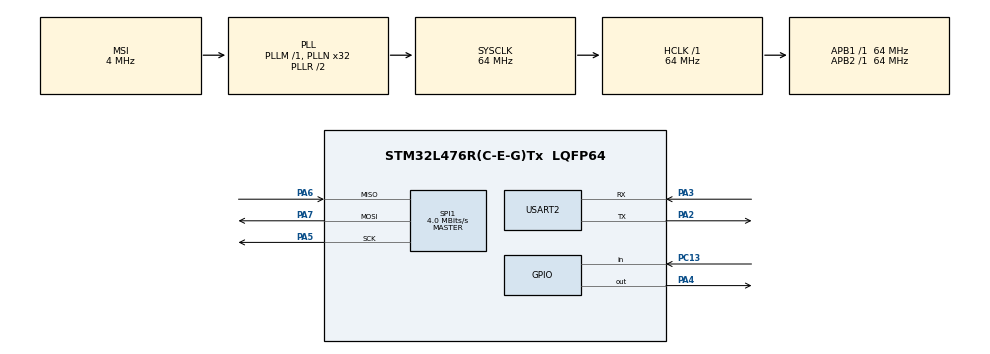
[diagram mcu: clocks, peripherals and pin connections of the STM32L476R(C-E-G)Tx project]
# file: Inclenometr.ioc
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Mcu.Family=STM32L4
Mcu.Name=STM32L476R(C-E-G)Tx
Mcu.Package=LQFP64
NVIC.PriorityGroup=NVIC_PRIORITYGROUP_4
NVIC.TIM7_IRQn=true\:0\:0\:false\:false\:true\:true\:true
PA2.Mode=Asynchronous
PA2.Signal=USART2_TX
PA3.Mode=Asynchronous
PA3.Signal=USART2_RX
PA4.GPIO_Speed=GPIO_SPEED_FREQ_LOW
PA4.PinState=GPIO_PIN_SET
PA4.Signal=GPIO_Output
PA5.Mode=Full_Duplex_Master
PA5.Signal=SPI1_SCK
PA6.Mode=Full_Duplex_Master
PA6.Signal=SPI1_MISO
PA7.Mode=Full_Duplex_Master
PA7.Signal=SPI1_MOSI
PC13.GPIO_Mode=GPIO_MODE_INPUT
PC13.GPIO_PuPd=GPIO_PULLDOWN
PC13.Signal=GPIO_Input
ProjectManager.HeapSize=0x200
ProjectManager.StackSize=0x400
ProjectManager.TargetToolchain=MDK-ARM V5.32
RCC.AHBFreq_Value=64000000
RCC.APB1Freq_Value=64000000
RCC.APB1TimFreq_Value=64000000
RCC.APB2Freq_Value=64000000
RCC.APB2TimFreq_Value=64000000
RCC.CortexFreq_Value=64000000
RCC.HCLKFreq_Value=64000000
RCC.HSE_VALUE=8000000
RCC.HSI_VALUE=16000000
RCC.LSE_VALUE=32768
RCC.MSI_VALUE=4000000
RCC.PLLN=32
RCC.SYSCLKFreq_VALUE=64000000
RCC.SYSCLKSource=RCC_SYSCLKSOURCE_PLLCLK
RCC.VCOOutputFreq_Value=128000000
SPI1.BaudRatePrescaler=SPI_BAUDRATEPRESCALER_16
SPI1.CLKPhase=SPI_PHASE_1EDGE
SPI1.CLKPolarity=SPI_POLARITY_LOW
SPI1.CalculateBaudRate=4.0 MBits/s
SPI1.DataSize=SPI_DATASIZE_8BIT
SPI1.Direction=SPI_DIRECTION_2LINES
SPI1.Mode=SPI_MODE_MASTER
SPI1.NSSPMode=SPI_NSS_PULSE_DISABLE
SPI1.VirtualType=VM_MASTER
TIM7.Period=10
TIM7.Prescaler=63999
USART2.VirtualMode-Asynchronous=VM_ASYNC
VP_TIM7_VS_ClockSourceINT.Mode=Enable_Timer
board=custom

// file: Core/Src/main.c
/* USER CODE BEGIN Header */
/**
  ******************************************************************************
  * @file           : main.c
  * @brief          : Main program body
  ******************************************************************************
  * @attention
  *
  * <h2><center>&copy; Copyright (c) 2023 STMicroelectronics.
  * All rights reserved.</center></h2>
  *
  * This software component is licensed by ST under BSD 3-Clause license,
  * the "License"; You may not use this file except in compliance with the
  * License. You may obtain a copy of the License at:
  *                        opensource.org/licenses/BSD-3-Clause
  *
  ******************************************************************************
  */
/* USER CODE END Header */
#include "main.h"

/* USER CODE BEGIN Includes */
#include "stdint.h"
#include "arm_math.h"
#include "incl.h"
#include "InclMathFix.h"
#include <stdio.h>
/* USER CODE END Includes */

/* USER CODE BEGIN PD */
#define gra_to_rad(a) (a) * 3.141592653f /180.0f
/* USER CODE END PD */

SPI_HandleTypeDef hspi1;

TIM_HandleTypeDef htim7;

UART_HandleTypeDef huart2;

/* USER CODE BEGIN PV */

static float32_t angls_grad[6];
static float32_t angls_rad[3];
static sInclData incl;
uint32_t one_sec_flag;
//static uint32_t uart_count;

//...........................................
//ПЕРЕМЕННЫЕ ДЛЯ КНОПК
static volatile uint32_t pres_pc13; //Нажатие
static volatile uint32_t prev_pc13 = GPIO_IDR_ID13; //Предыдущее значение кнопки
static volatile uint32_t cnt_pc13 = 0; //счетчик
static volatile uint32_t timer_intr_counter = 0;
static volatile uint8_t key_press_counter = 0;
static volatile uint8_t key_press = 0;
static volatile uint8_t* ptr_key_press = &key_press;

/* USER CODE END PV */

void SystemClock_Config(void);
static void MX_GPIO_Init(void);
static void MX_SPI1_Init(void);
static void MX_TIM7_Init(void);
static void MX_USART2_UART_Init(void);
/* USER CODE BEGIN PFP */
static void debounce(volatile uint32_t *  pres_px, volatile uint32_t *  cnt_px, volatile uint32_t *  prev_px, uint32_t GPIOx_IDR);

void 	HAL_TIM_PeriodElapsedCallback (TIM_HandleTypeDef *htim){
  if(htim->Instance == TIM7){
    TIM7 -> SR &= ~TIM_SR_UIF;
    timer_intr_counter++;
    debounce(&pres_pc13, &cnt_pc13, &prev_pc13, GPIOC->IDR);
    if (pres_pc13)
    {
      pres_pc13 = 0;
      key_press_counter++;
      timer_intr_counter = 0;
    }
    else if(timer_intr_counter>=50 && key_press_counter != 0)
    {
      *ptr_key_press = key_press_counter;
      key_press_counter = 0;
      timer_intr_counter = 0;
    }

  }
}
/* USER CODE END PFP */

int main(void)
{

  /* MCU Configuration--------------------------------------------------------*/

  /* Reset of all peripherals, Initializes the Flash interface and the Systick. */
  HAL_Init();

  /* Configure the system clock */
  SystemClock_Config();

  /* Initialize all configured peripherals */
  MX_GPIO_Init();
  MX_SPI1_Init();
  MX_TIM7_Init();
  MX_USART2_UART_Init();
  /* USER CODE BEGIN 2 */

  HAL_GPIO_WritePin(GPIOA, GPIO_PIN_4, GPIO_PIN_SET);
  HAL_TIM_Base_Start_IT(&htim7);

  /* USER CODE END 2 */

  /* Infinite loop */
  /* USER CODE BEGIN WHILE */

  Incl_init();
  while (1)
  {
    /* USER CODE END WHILE */

    /* USER CODE BEGIN 3 */
    //получаем значения с датчика
      Incl_Data_ANGL(angls_grad);
      for(uint32_t i = 0; i < 3; i++)
          angls_rad[i] = gra_to_rad(angls_grad[i]);
    // события по кнопке
    if (key_press == 1){
      key_press = 0;
      //инициализация матрицы поворота по x y
      inclDataInit1(angls_rad,&incl);
    }
    else if (key_press == 2){
      key_press = 0;
      inclDataInit2(angls_rad,&incl);
    }
    fixAngles(angls_rad, &incl);

//    if (key_press == 3 && uart_count && (one_sec_flag >=32)){
//      uart_count = (uart_count+1)%101;
//      one_sec_flag =0;
//      char range_str[100];
//      angls[0] = incl.data_out[0];
//      sprintf(range_str,"%0.20f\t",angls[0]);
//      HAL_UART_Transmit(&huart2,(uint8_t*)range_str,strlen(range_str),100);

//      angls[1] = incl.data_out[1];
//      sprintf(range_str,"%0.20f\t",angls[1]);
//      HAL_UART_Transmit(&huart2,(uint8_t*)range_str,strlen(range_str),100);

//      angls[2] = incl.data_out[2];
//      sprintf(range_str,"%0.20f\n",angls[2]);
//      HAL_UART_Transmit(&huart2,(uint8_t*)range_str,strlen(range_str),100);
//    }
//    else if (uart_count == 0){
//      key_press = 0;
//      uart_count = 1;
//      one_sec_flag = 0;
//    }
      char range_str[100];
      sprintf(range_str,"%0.20f\t",incl.dataOut[0]);
      HAL_UART_Transmit(&huart2,(uint8_t*)range_str,strlen(range_str),100);
}
  /* USER CODE END 3 */
}

void SystemClock_Config(void)
{
  RCC_OscInitTypeDef RCC_OscInitStruct = {0};
  RCC_ClkInitTypeDef RCC_ClkInitStruct = {0};

  /** Configure the main internal regulator output voltage
  */
  if (HAL_PWREx_ControlVoltageScaling(PWR_REGULATOR_VOLTAGE_SCALE1) != HAL_OK)
  {
    Error_Handler();
  }
  /** Initializes the RCC Oscillators according to the specified parameters
  * in the RCC_OscInitTypeDef structure.
  */
  RCC_OscInitStruct.OscillatorType = RCC_OSCILLATORTYPE_MSI;
  RCC_OscInitStruct.MSIState = RCC_MSI_ON;
  RCC_OscInitStruct.MSICalibrationValue = 0;
  RCC_OscInitStruct.MSIClockRange = RCC_MSIRANGE_6;
  RCC_OscInitStruct.PLL.PLLState = RCC_PLL_ON;
  RCC_OscInitStruct.PLL.PLLSource = RCC_PLLSOURCE_MSI;
  RCC_OscInitStruct.PLL.PLLM = 1;
  RCC_OscInitStruct.PLL.PLLN = 32;
  RCC_OscInitStruct.PLL.PLLP = RCC_PLLP_DIV7;
  RCC_OscInitStruct.PLL.PLLQ = RCC_PLLQ_DIV2;
  RCC_OscInitStruct.PLL.PLLR = RCC_PLLR_DIV2;
  if (HAL_RCC_OscConfig(&RCC_OscInitStruct) != HAL_OK)
  {
    Error_Handler();
  }
  /** Initializes the CPU, AHB and APB buses clocks
  */
  RCC_ClkInitStruct.ClockType = RCC_CLOCKTYPE_HCLK|RCC_CLOCKTYPE_SYSCLK
                              |RCC_CLOCKTYPE_PCLK1|RCC_CLOCKTYPE_PCLK2;
  RCC_ClkInitStruct.SYSCLKSource = RCC_SYSCLKSOURCE_PLLCLK;
  RCC_ClkInitStruct.AHBCLKDivider = RCC_SYSCLK_DIV1;
  RCC_ClkInitStruct.APB1CLKDivider = RCC_HCLK_DIV1;
  RCC_ClkInitStruct.APB2CLKDivider = RCC_HCLK_DIV1;

  if (HAL_RCC_ClockConfig(&RCC_ClkInitStruct, FLASH_LATENCY_3) != HAL_OK)
  {
    Error_Handler();
  }
}

static void MX_SPI1_Init(void)
{

  /* SPI1 parameter configuration*/
  hspi1.Instance = SPI1;
  hspi1.Init.Mode = SPI_MODE_MASTER;
  hspi1.Init.Direction = SPI_DIRECTION_2LINES;
  hspi1.Init.DataSize = SPI_DATASIZE_8BIT;
  hspi1.Init.CLKPolarity = SPI_POLARITY_LOW;
  hspi1.Init.CLKPhase = SPI_PHASE_1EDGE;
  hspi1.Init.NSS = SPI_NSS_SOFT;
  hspi1.Init.BaudRatePrescaler = SPI_BAUDRATEPRESCALER_16;
  hspi1.Init.FirstBit = SPI_FIRSTBIT_MSB;
  hspi1.Init.TIMode = SPI_TIMODE_DISABLE;
  hspi1.Init.CRCCalculation = SPI_CRCCALCULATION_DISABLE;
  hspi1.Init.CRCPolynomial = 7;
  hspi1.Init.CRCLength = SPI_CRC_LENGTH_DATASIZE;
  hspi1.Init.NSSPMode = SPI_NSS_PULSE_DISABLE;
  if (HAL_SPI_Init(&hspi1) != HAL_OK)
  {
    Error_Handler();
  }

}

static void MX_TIM7_Init(void)
{

  TIM_MasterConfigTypeDef sMasterConfig = {0};

  htim7.Instance = TIM7;
  htim7.Init.Prescaler = 63999;
  htim7.Init.CounterMode = TIM_COUNTERMODE_UP;
  htim7.Init.Period = 10;
  htim7.Init.AutoReloadPreload = TIM_AUTORELOAD_PRELOAD_DISABLE;
  if (HAL_TIM_Base_Init(&htim7) != HAL_OK)
  {
    Error_Handler();
  }
  sMasterConfig.MasterOutputTrigger = TIM_TRGO_RESET;
  sMasterConfig.MasterSlaveMode = TIM_MASTERSLAVEMODE_DISABLE;
  if (HAL_TIMEx_MasterConfigSynchronization(&htim7, &sMasterConfig) != HAL_OK)
  {
    Error_Handler();
  }

}

static void MX_USART2_UART_Init(void)
{

  huart2.Instance = USART2;
  huart2.Init.BaudRate = 115200;
  huart2.Init.WordLength = UART_WORDLENGTH_8B;
  huart2.Init.StopBits = UART_STOPBITS_1;
  huart2.Init.Parity = UART_PARITY_NONE;
  huart2.Init.Mode = UART_MODE_TX_RX;
  huart2.Init.HwFlowCtl = UART_HWCONTROL_NONE;
  huart2.Init.OverSampling = UART_OVERSAMPLING_16;
  huart2.Init.OneBitSampling = UART_ONE_BIT_SAMPLE_DISABLE;
  huart2.AdvancedInit.AdvFeatureInit = UART_ADVFEATURE_NO_INIT;
  if (HAL_UART_Init(&huart2) != HAL_OK)
  {
    Error_Handler();
  }

}

static void MX_GPIO_Init(void)
{
  GPIO_InitTypeDef GPIO_InitStruct = {0};

  /* GPIO Ports Clock Enable */
  __HAL_RCC_GPIOC_CLK_ENABLE();
  __HAL_RCC_GPIOA_CLK_ENABLE();

  /*Configure GPIO pin Output Level */
  HAL_GPIO_WritePin(GPIOA, GPIO_PIN_4, GPIO_PIN_SET);

  /*Configure GPIO pin : PC13 */
  GPIO_InitStruct.Pin = GPIO_PIN_13;
  GPIO_InitStruct.Mode = GPIO_MODE_INPUT;
  GPIO_InitStruct.Pull = GPIO_PULLDOWN;
  HAL_GPIO_Init(GPIOC, &GPIO_InitStruct);

  /*Configure GPIO pin : PA4 */
  GPIO_InitStruct.Pin = GPIO_PIN_4;
  GPIO_InitStruct.Mode = GPIO_MODE_OUTPUT_PP;
  GPIO_InitStruct.Pull = GPIO_NOPULL;
  GPIO_InitStruct.Speed = GPIO_SPEED_FREQ_LOW;
  HAL_GPIO_Init(GPIOA, &GPIO_InitStruct);

}

/* USER CODE BEGIN 4 */
/**
 * Избавляется от дребезга сигнала на GPIO пине.
 * @param pres_px Указатель на переменную, которая будет установлена в 1 при срабатывании без дребезга.
 * @param cnt_px Указатель на переменную, содержащую текущий счетчик дребезга.
 * @param prev_px Указатель на переменную, содержащую предыдущее значение GPIO пина.
 * @param GPIOx_IDR Значение GPIO пина.
 */
static void debounce(volatile uint32_t* pres_px, volatile uint32_t* cnt_px, volatile uint32_t* prev_px, uint32_t GPIOx_IDR)
{
    uint32_t cur_px = GPIOx_IDR;

    // Проверяем, отличается ли текущее значение пина от предыдущего
    if (cur_px != *prev_px)
    {
        (*cnt_px)++;

        // Если счетчик дребезга достигает значения 4, значит дребезг прекратился
        if (*cnt_px >= 4)
        {
            *prev_px = cur_px;
            *cnt_px = 0;

            // Если текущее значение пина равно 0, устанавливаем pres_px в 1
            if (cur_px == 0)
            {
                *pres_px = 1;
            }
        }
    }
    else
    {
        // Если текущее значение пина равно предыдущему, обнуляем счетчик дребезга
        *cnt_px = 0;
    }
}
/* USER CODE END 4 */

void Error_Handler(void)
{
  __disable_irq();
  while (1)
  {
  }
}

/************************ (C) COPYRIGHT STMicroelectronics *****END OF FILE****/
